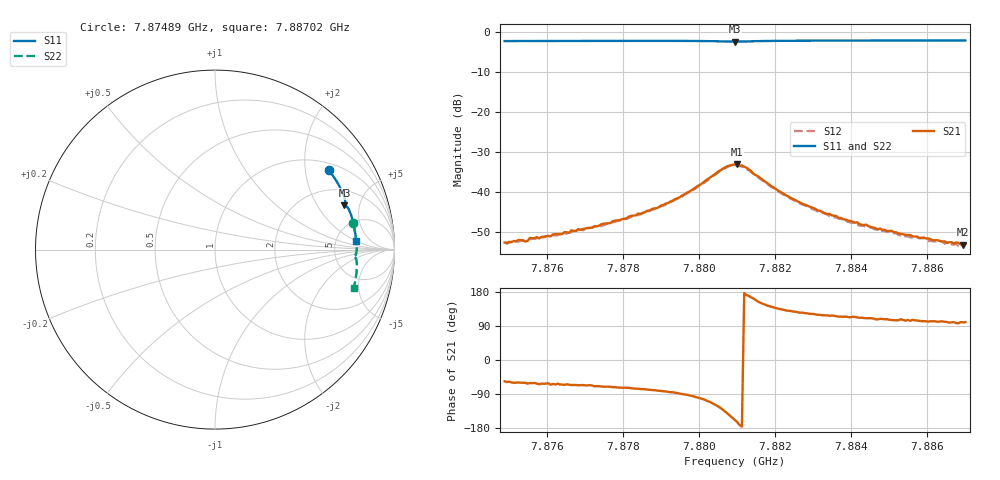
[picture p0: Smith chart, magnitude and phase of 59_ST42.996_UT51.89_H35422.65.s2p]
#  HZ  S  DB  R  50.00
! Rohde & Schwarz Vector Network Analyzer
! Rohde-Schwarz,ZNB20-2Port,1311601062101988,3.16
! Created: UTC 1/12/2023, 6:33:32 PM
! freq[Hz]  db:S11  ang:S11  db:S21  ang:S21  db:S12  ang:S12  db:S22  ang:S22
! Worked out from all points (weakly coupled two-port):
!   201 points, 7.87489 GHz to 7.88702 GHz, reference 50 ohm
!   highest |S21| = -33.03 dB at 7.88101 GHz (marker M1); lowest = -53.1 dB at 7.88696 GHz (marker M2)
!   lowest |S11| = -2.4 dB at 7.88095 GHz (marker M3), VSWR 7.39, Z = 151 + j178 ohm
!   |S11| at or under -10 dB: nowhere
!   |S22| runs from -2.2 to -1.9 dB; largest |S21 - S12| = 0.0017
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7.874887e9  -2.23 34.8  -52.54 -56.2  -52.47 -61.0  -2.14 10.8
7.875251e9  -2.22 33.9  -51.90 -59.1  -52.31 -64.0  -2.14 10.0
7.875433e9  -2.22 33.3  -52.29 -60.4  -51.92 -64.6  -2.12 9.5
7.875554e9  -2.21 33.0  -51.39 -60.7  -51.68 -63.3  -2.12 9.2
7.875797e9  -2.21 32.4  -51.49 -64.1  -51.27 -66.1  -2.12 8.7
7.876949e9  -2.19 29.2  -49.16 -66.1  -49.47 -70.7  -2.09 6.0
7.877677e9  -2.18 27.2  -47.65 -70.8  -47.61 -74.7  -2.06 4.3
7.878951e9  -2.18 23.7  -43.68 -81.2  -43.78 -84.4  -2.05 1.2
7.879557e9  -2.18 21.9  -40.82 -89.5  -41.09 -92.9  -2.05 -0.3
7.88071e9  -2.33 19.0  -33.64 -137.4  -33.88 -140.6  -2.22 -2.9
7.880952e9  -2.36 18.9  -33.05 -158.5  -33.23 -162.8  -2.24 -2.8
7.881013e9  -2.36 18.8  -33.03 -164.2  -33.26 -168.5  -2.23 -2.8
7.881256e9  -2.31 18.7  -33.85 171.0  -34.20 170.0  -2.19 -2.8
7.882287e9  -2.16 15.9  -40.69 130.8  -40.88 128.0  -2.02 -5.1
7.883015e9  -2.13 13.9  -43.95 121.7  -44.25 118.0  -1.98 -6.8
7.884228e9  -2.10 10.6  -47.91 111.3  -48.36 108.7  -1.95 -9.5
7.885016e9  -2.09 8.5  -49.62 106.3  -49.88 104.4  -1.94 -11.3
7.885623e9  -2.09 6.9  -50.96 105.8  -51.36 100.6  -1.93 -12.6
7.885926e9  -2.09 6.1  -51.29 102.6  -51.48 99.5  -1.92 -13.3
7.886047e9  -2.09 5.8  -51.52 101.2  -52.18 98.0  -1.92 -13.5
7.886957e9  -2.07 3.5  -53.07 99.2  -53.42 95.3  -1.92 -15.5
7.887018e9  -2.08 3.3  -52.85 100.0  -53.44 96.0  -1.92 -15.7
